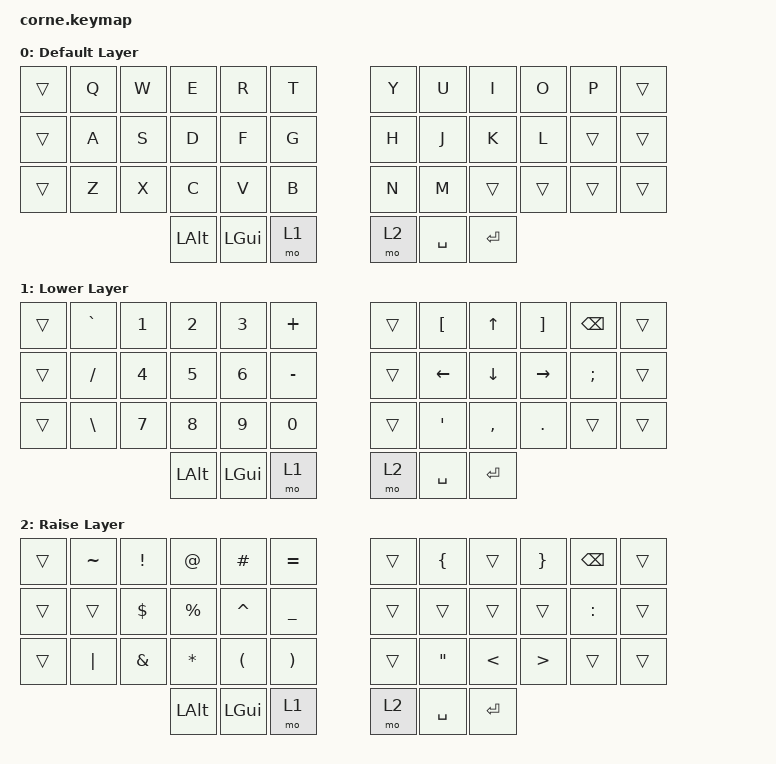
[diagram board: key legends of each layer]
/*
 * Copyright (c) 2020 The ZMK Contributors
 *
 * SPDX-License-Identifier: MIT
 */

#include <behaviors.dtsi>
#include <dt-bindings/zmk/keys.h>
#include <dt-bindings/zmk/bt.h>

/ {
        keymap {
                compatible = "zmk,keymap";
                

                default_layer {
                        display-name = "Default Layer";
// --------------------------------------------------------------------------------------------------------------------------
// |    ?    |    Q    |    W    |    E    |    R    |    T    ||    Y    |    U    |    I    |    O    |    P    |    ?    |
// |    ?    |    A    |    S    |    D    |    F    |    G    ||    H    |    J    |    K    |    L    |    .    |    ?    |
// |    ?    |    Z    |    X    |    C    |    V    |    B    ||    N    |    M    |    .    |    .    |    .    |    ?    |
//                               |   ALT   |   CMD   |   LWR   ||   RSE   |   SPC   |   RET   |
                bindings = <
   &trans    &kp  Q    &kp  W    &kp  E    &kp  R    &kp  T     &kp  Y    &kp  U    &kp I     &kp  O    &kp P     &trans
   &trans    &kp  A    &kp  S    &kp  D    &kp  F    &kp  G     &kp  H    &kp  J    &kp K     &kp  L    &trans    &trans
   &trans    &kp  Z    &kp  X    &kp  C    &kp  V    &kp  B     &kp  N    &kp  M    &trans    &trans    &trans    &trans
                                 &kp LALT  &kp LGUI  &mo  1     &mo  2    &kp SPACE &kp RET
                >;
                };
                

                lower_layer {
                        display-name = "Lower Layer";
// --------------------------------------------------------------------------------------------------------------------------
// |    ?    |    `    |    1    |    2    |    3    |    +    ||    .    |    [    |    ↑    |    ]    |   BSP   |    ?    |
// |    ?    |    /    |    4    |    5    |    6    |    -    ||    .    |    ←    |    ↓    |    →    |    ;    |    ?    |
// |    ?    |    \    |    7    |    8    |    9    |    0    ||    .    |    '    |    ,    |    .    |    .    |    ?    |
//                               |   ALT   |   CMD   |   LWR   ||   RSE   |   SPC   |   RET   |
                bindings = <
   &trans    &kp GRAVE &kp  N1   &kp  N2   &kp  N3   &kp PLUS   &trans    &kp LBKT  &kp UP    &kp RBKT  &kp BSPC  &trans
   &trans    &kp FSLH  &kp  N4   &kp  N5   &kp  N6   &kp MINUS  &trans    &kp LEFT  &kp DOWN  &kp RIGHT &kp SEMI  &trans
   &trans    &kp BSLH  &kp  N7   &kp  N8   &kp  N9   &kp N0     &trans    &kp SQT   &kp COMMA &kp DOT   &trans    &trans
                                 &kp LALT  &kp LGUI  &mo  1     &mo 2     &kp SPACE &kp RET
                >;
                };


                raise_layer {
                        display-name = "Raise Layer";
// --------------------------------------------------------------------------------------------------------------------------
// |    ?    |    ~    |    !    |    @    |    #    |    =    ||    .    |    {    |    .    |    }    |   BSP   |    ?    |
// |    ?    |    .    |    $    |    %    |    ^    |    _    ||    .    |    .    |    .    |    .    |    :    |    ?    |
// |    ?    |    |    |    &    |    *    |    (    |    )    ||    .    |    "    |    <    |    >    |    .    |    ?    |
//                               |   ALT   |   CMD   |   LWR   ||   RSE   |   SPC   |   RET   |
                bindings = <
   &trans    &kp TILDE &kp EXCL  &kp AT    &kp HASH  &kp EQUAL   &trans    &kp LBRC  &trans   &kp RBRC   &kp BSPC  &trans
   &trans    &trans    &kp DLLR  &kp PRCNT &kp CARET &kp UNDER   &trans    &trans    &trans    &trans    &kp COLON &trans
   &trans    &kp PIPE  &kp AMPS  &kp ASTRK &kp LPAR  &kp RPAR    &trans    &kp DQT   &kp LT    &kp GT    &trans    &trans
                                 &kp LALT  &kp LGUI  &mo  1      &mo 2     &kp SPACE &kp RET
                >;
                };
        };
};
